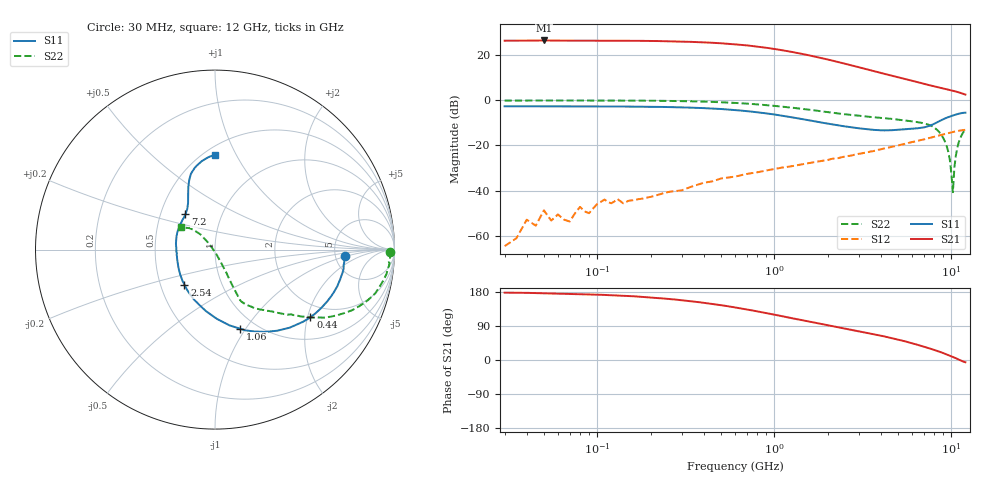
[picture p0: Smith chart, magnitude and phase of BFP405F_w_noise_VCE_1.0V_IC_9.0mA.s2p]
! Infineon Technologies  Discrete & RF Semiconductors
! BFP405F
! VCE =  1.0 V,  IC =  9.0 mA
! Common Emitter S-Parameters:  Nov 2015
# GHz  S  MA  R  50
!  f  S11  S21  S12  S22
! GHz  MAG  ANG  MAG  ANG  MAG  ANG  MAG  ANG
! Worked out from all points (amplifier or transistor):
!   239 points, 30 MHz to 12 GHz, reference 50 ohm
!   highest |S21| = 26.3 dB at 50 MHz (marker M1)
!   |S21| within 3 dB of that: start of sweep to 857.4 MHz
!   unconditionally stable (mu >= 1): 2.198 GHz to end of sweep
!   at 300 MHz: K = 0.19, MSG = 32.8 dB, |S12| = -39.8 dB
!   at 1.88 GHz: K = 0.91, MSG = 22.6 dB, |S12| = -26.8 dB
!   at 12 GHz: K = 1.41, MAG = 4.0 dB, |S12| = -13.1 dB
!   lowest NFmin = 1.60 dB at 450 MHz
!   S11 on the Smith chart (normalised r, x): 30 MHz: 6.20, -0.87; 440 MHz: 1.59, -2.09; 1.06 GHz: 0.84, -0.95; 2.54 GHz: 0.66, -0.28; 7.2 GHz: 0.67, +0.28; 12 GHz: 0.56, +0.82
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0.03  0.7271 -2.6  20.3 177.7  0.0006 -155.2  0.9724 -0.9
0.05  0.7234 -4.5  20.56 176.0  0.0037 179.0  0.9732 -1.5
0.07  0.7235 -5.9  20.39 174.2  0.0021 22.1  0.9758 -2.5
0.085  0.7226 -7.3  20.34 173.4  0.0035 50.0  0.9766 -3.1
0.145  0.7183 -12.3  20.27 169.5  0.0056 79.7  0.9717 -5.7
0.24  0.7027 -20.0  19.79 162.1  0.009 78.6  0.9581 -9.5
0.32  0.6836 -26.2  19.3 156.4  0.0112 79.7  0.941 -12.5
0.44  0.6518 -35.3  18.35 148.4  0.016 75.0  0.9118 -16.7
0.6  0.6018 -46.3  16.89 138.6  0.0205 72.9  0.8638 -21.4
0.8  0.5377 -58.5  15.05 128.3  0.0255 67.2  0.8016 -26.2
1.06  0.4634 -72.2  12.89 117.4  0.0314 64.7  0.7279 -31.2
1.3  0.4054 -83.8  11.21 108.9  0.0356 63.1  0.6684 -34.5
1.64  0.347 -98.2  9.323 99.8  0.0419 61.7  0.6004 -38.2
2.08  0.2947 -115.5  7.556 90.2  0.0497 60.5  0.5325 -42.6
2.54  0.2597 -130.9  6.23 82.4  0.0572 59.1  0.4822 -46.3
4.5  0.216 179.6  3.52 59.0  0.0911 54.2  0.3876 -56.5
7.2  0.2564 130.0  2.214 33.3  0.1397 43.4  0.2962 -63.7
9.2  0.3919 112.0  1.759 16.6  0.1786 33.5  0.1214 -64.1
9.8  0.4316 108.6  1.66 11.6  0.1901 30.1  0.0485 -67.7
10.2  0.4556 105.8  1.6 8.1  0.1975 27.6  0.0093 -173.9
10.8  0.4882 100.3  1.508 2.8  0.2071 23.6  0.0876 133.9
12  0.5259 90.3  1.318 -6.1  0.221 17.7  0.2284 146.9
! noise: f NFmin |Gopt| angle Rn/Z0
0.45  1.6  0.23  5  0.33
0.9  1.61  0.21  11  0.35
1.5  1.67  0.2  16  0.26
1.9  1.7  0.18  22  0.29
2.4  1.84  0.17  30  0.34
3  1.92  0.15  43  0.31
3.5  1.97  0.13  50  0.3
4.5  2.13  0.1  51  0.2
5.5  2.32  0.05  51  0.05
